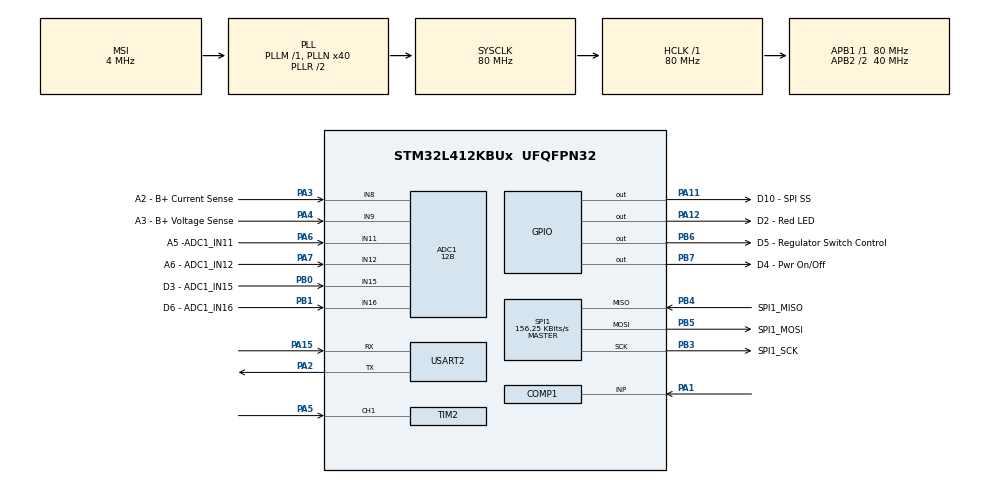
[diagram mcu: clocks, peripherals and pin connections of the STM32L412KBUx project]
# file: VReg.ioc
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ADC1.Channel-0\#ChannelRegularConversion=ADC_CHANNEL_TEMPSENSOR
ADC1.Channel-1\#ChannelRegularConversion=ADC_CHANNEL_8
ADC1.Channel-2\#ChannelRegularConversion=ADC_CHANNEL_9
ADC1.Channel-3\#ChannelRegularConversion=ADC_CHANNEL_11
ADC1.Channel-4\#ChannelRegularConversion=ADC_CHANNEL_12
ADC1.Channel-5\#ChannelRegularConversion=ADC_CHANNEL_15
ADC1.Channel-6\#ChannelRegularConversion=ADC_CHANNEL_16
ADC1.ClockPrescaler=ADC_CLOCK_ASYNC_DIV10
ADC1.ContinuousConvMode=ENABLE
ADC1.DMAContinuousRequests=ENABLE
ADC1.EOCSelection=ADC_EOC_SEQ_CONV
ADC1.ExternalTrigConv=ADC_SOFTWARE_START
ADC1.NbrOfConversion=7
ADC1.NbrOfConversionFlag=1
ADC1.OffsetNumber-1\#ChannelRegularConversion=ADC_OFFSET_NONE
ADC1.OffsetNumber-2\#ChannelRegularConversion=ADC_OFFSET_NONE
ADC1.OffsetNumber-3\#ChannelRegularConversion=ADC_OFFSET_NONE
ADC1.OffsetNumber-4\#ChannelRegularConversion=ADC_OFFSET_NONE
ADC1.OffsetNumber-5\#ChannelRegularConversion=ADC_OFFSET_NONE
ADC1.OffsetNumber-6\#ChannelRegularConversion=ADC_OFFSET_NONE
ADC1.Overrun=ADC_OVR_DATA_OVERWRITTEN
ADC1.OversamplingMode=ENABLE
ADC1.Rank-1\#ChannelRegularConversion=2
ADC1.Rank-2\#ChannelRegularConversion=3
ADC1.Rank-3\#ChannelRegularConversion=4
ADC1.Rank-4\#ChannelRegularConversion=5
ADC1.Rank-5\#ChannelRegularConversion=6
ADC1.Rank-6\#ChannelRegularConversion=7
ADC1.Ratio=ADC_OVERSAMPLING_RATIO_16
ADC1.Resolution=ADC_RESOLUTION_12B
ADC1.RightBitShift=ADC_RIGHTBITSHIFT_NONE
ADC1.SamplingTime-0\#ChannelRegularConversion=ADC_SAMPLETIME_47CYCLES_5
ADC1.SamplingTime-1\#ChannelRegularConversion=ADC_SAMPLETIME_47CYCLES_5
ADC1.SamplingTime-2\#ChannelRegularConversion=ADC_SAMPLETIME_47CYCLES_5
ADC1.SamplingTime-3\#ChannelRegularConversion=ADC_SAMPLETIME_2CYCLES_5
ADC1.SamplingTime-4\#ChannelRegularConversion=ADC_SAMPLETIME_2CYCLES_5
ADC1.SamplingTime-5\#ChannelRegularConversion=ADC_SAMPLETIME_2CYCLES_5
ADC1.SamplingTime-6\#ChannelRegularConversion=ADC_SAMPLETIME_2CYCLES_5
ADC1.master=1
COMP1.Hysteresis=COMP_HYSTERESIS_HIGH
COMP1.Mode=COMP_POWERMODE_ULTRALOWPOWER
COMP1.TriggerMode=COMP_TRIGGERMODE_EVENT_RISING
Dma.ADC1.0.Direction=DMA_PERIPH_TO_MEMORY
Dma.ADC1.0.Instance=DMA1_Channel1
Dma.ADC1.0.MemDataAlignment=DMA_MDATAALIGN_HALFWORD
Dma.ADC1.0.MemInc=DMA_MINC_ENABLE
Dma.ADC1.0.Mode=DMA_CIRCULAR
Dma.ADC1.0.PeriphDataAlignment=DMA_PDATAALIGN_HALFWORD
Dma.ADC1.0.PeriphInc=DMA_PINC_DISABLE
Dma.ADC1.0.Priority=DMA_PRIORITY_HIGH
Dma.Request0=ADC1
Dma.Request1=SPI1_RX
Dma.Request2=SPI1_TX
Dma.SPI1_RX.1.Direction=DMA_PERIPH_TO_MEMORY
Dma.SPI1_RX.1.Instance=DMA2_Channel3
Dma.SPI1_RX.1.MemDataAlignment=DMA_MDATAALIGN_BYTE
Dma.SPI1_RX.1.MemInc=DMA_MINC_ENABLE
Dma.SPI1_RX.1.Mode=DMA_NORMAL
Dma.SPI1_RX.1.PeriphDataAlignment=DMA_PDATAALIGN_BYTE
Dma.SPI1_RX.1.PeriphInc=DMA_PINC_DISABLE
Dma.SPI1_RX.1.Priority=DMA_PRIORITY_VERY_HIGH
Dma.SPI1_TX.2.Direction=DMA_MEMORY_TO_PERIPH
Dma.SPI1_TX.2.Instance=DMA1_Channel3
Dma.SPI1_TX.2.MemDataAlignment=DMA_MDATAALIGN_BYTE
Dma.SPI1_TX.2.MemInc=DMA_MINC_ENABLE
Dma.SPI1_TX.2.Mode=DMA_NORMAL
Dma.SPI1_TX.2.PeriphDataAlignment=DMA_PDATAALIGN_BYTE
Dma.SPI1_TX.2.PeriphInc=DMA_PINC_DISABLE
Dma.SPI1_TX.2.Priority=DMA_PRIORITY_MEDIUM
FREERTOS.Events01=TaskStopped,Static,TaskStoppedControlBlock;TaskReady,Static,TaskReadyControlBlock
FREERTOS.INCLUDE_pcTaskGetTaskName=1
FREERTOS.INCLUDE_uxTaskGetStackHighWaterMark2=1
FREERTOS.INCLUDE_xEventGroupSetBitFromISR=1
FREERTOS.INCLUDE_xSemaphoreGetMutexHolder=1
FREERTOS.INCLUDE_xTaskGetHandle=1
FREERTOS.Mutexes01=avg_data_mutex,Static,avg_data_mutexControlBlock
FREERTOS.Queues01=RegulatorEvtQ,64,evt_t,0,Static,RegulatorEvtQBuffer,RegulatorEvtQControlBlock;ConsoleEvtQ,16,evt_t,0,Static,ConsoleEvtQBuffer,ConsoleEvtQControlBlock;LoggerEvtQ,64,evt_t,0,Static,LoggerQBuffer,LoggerQControlBlock
FREERTOS.Tasks01=Logger,16,640,LoggerTask,Default,NULL,Static,LoggerBuffer,LoggerControlBlock;Console,24,512,ConsoleTask,Default,NULL,Static,ConsoleBuffer,ConsoleControlBlock;Regulator,40,256,RegulatorTask,Default,NULL,Static,RegulatorBuffer,RegulatorControlBlock
FREERTOS.Timers01=Period,PeriodCallback,osTimerPeriodic,Default,NULL,Static,PeriodControlBlock;Period1Hz,Period1HzCallback,osTimerPeriodic,Default,NULL,Static,Period1HzControlBlock;ActivityTimer,ActivityTimerCallback,osTimerOnce,Default,NULL,Static,ActivityTimerControlBlock;CnslActivityTimer,CnslActivityTimerCallback,osTimerOnce,Default,NULL,Static,CnslActivityTimerControlBlock
FREERTOS.configCHECK_FOR_STACK_OVERFLOW=2
FREERTOS.configENABLE_BACKWARD_COMPATIBILITY=0
FREERTOS.configENABLE_FPU=1
FREERTOS.configGENERATE_RUN_TIME_STATS=1
FREERTOS.configTIMER_QUEUE_LENGTH=16
FREERTOS.configTIMER_TASK_STACK_DEPTH=384
FREERTOS.configTOTAL_HEAP_SIZE=4096
FREERTOS.configUSE_MALLOC_FAILED_HOOK=1
FREERTOS.configUSE_NEWLIB_REENTRANT=1
FREERTOS.configUSE_POSIX_ERRNO=1
FREERTOS.configUSE_STATS_FORMATTING_FUNCTIONS=1
FREERTOS.configUSE_TICKLESS_IDLE=0
FREERTOS.configUSE_TICK_HOOK=1
Mcu.Family=STM32L4
Mcu.Name=STM32L412KBUx
Mcu.Package=UFQFPN32
NVIC.ADC1_2_IRQn=true\:5\:0\:false\:false\:true\:true\:true\:true\:true
NVIC.DMA1_Channel1_IRQn=true\:7\:0\:true\:false\:true\:true\:false\:true\:true
NVIC.DMA1_Channel3_IRQn=true\:6\:0\:true\:false\:true\:true\:false\:true\:true
NVIC.DMA2_Channel3_IRQn=true\:5\:0\:false\:false\:true\:true\:false\:true\:true
NVIC.PriorityGroup=NVIC_PRIORITYGROUP_4
NVIC.TIM1_UP_TIM16_IRQn=true\:0\:0\:false\:false\:true\:false\:false\:true\:true
NVIC.TIM2_IRQn=true\:5\:0\:false\:false\:true\:true\:true\:true\:true
NVIC.TimeBase=TIM1_UP_TIM16_IRQn
NVIC.TimeBaseIP=TIM16
NVIC.USART2_IRQn=true\:10\:0\:true\:false\:true\:true\:true\:true\:true
PA0-CK_IN.Mode=HSE-External-Clock-Source-for-LittleOrca
PA0-CK_IN.Signal=RCC_CK_IN
PA1.Mode=INP
PA1.Signal=COMP1_INP
PA10.Signal=USART1_RX
PA11.GPIO_Label=D10 - SPI SS
PA11.GPIO_Speed=GPIO_SPEED_FREQ_LOW
PA11.PinState=GPIO_PIN_SET
PA11.Signal=GPIO_Output
PA12.GPIO_Label=D2 - Red LED
PA12.Signal=GPIO_Output
PA13\ (JTMS/SWDIO).Mode=Serial_Wire
PA13\ (JTMS/SWDIO).Signal=SYS_JTMS-SWDIO
PA14\ (JTCK/SWCLK).Mode=Serial_Wire
PA14\ (JTCK/SWCLK).Signal=SYS_JTCK-SWCLK
PA15\ (JTDI).Mode=Asynchronous
PA15\ (JTDI).Signal=USART2_RX
PA2.Mode=Asynchronous
PA2.Signal=USART2_TX
PA3.GPIO_Label=A2 - B+ Current Sense
PA3.Signal=ADCx_IN8
PA4.GPIO_Label=A3 - B+ Voltage Sense
PA4.Signal=ADCx_IN9
PA5.Signal=S_TIM2_CH1
PA6.GPIO_Label=A5 -ADC1_IN11
PA6.Signal=ADCx_IN11
PA7.GPIO_Label=A6 - ADC1_IN12
PA7.Signal=ADCx_IN12
PA9.Signal=USART1_TX
PB0.GPIO_Label=D3 - ADC1_IN15
PB0.Signal=ADCx_IN15
PB1.GPIO_Label=D6 - ADC1_IN16
PB1.Signal=ADCx_IN16
PB3\ (JTDO/TRACESWO).GPIO_Label=SPI1_SCK
PB3\ (JTDO/TRACESWO).GPIO_Speed=GPIO_SPEED_FREQ_LOW
PB3\ (JTDO/TRACESWO).Mode=Full_Duplex_Master
PB3\ (JTDO/TRACESWO).Signal=SPI1_SCK
PB4\ (NJTRST).GPIO_Label=SPI1_MISO
PB4\ (NJTRST).GPIO_PuPd=GPIO_PULLUP
PB4\ (NJTRST).GPIO_Speed=GPIO_SPEED_FREQ_LOW
PB4\ (NJTRST).Mode=Full_Duplex_Master
PB4\ (NJTRST).Signal=SPI1_MISO
PB5.GPIO_Label=SPI1_MOSI
PB5.GPIO_Speed=GPIO_SPEED_FREQ_LOW
PB5.Mode=Full_Duplex_Master
PB5.Signal=SPI1_MOSI
PB6.GPIO_FM6=__NULL
PB6.GPIO_Label=D5 - Regulator Switch Control
PB6.Signal=GPIO_Output
PB7.GPIO_FM7=__NULL
PB7.GPIO_Label=D4 - Pwr On/Off
PB7.Signal=GPIO_Output
PC14-OSC32_IN\ (PC14).Mode=LSE-External-Oscillator
PC14-OSC32_IN\ (PC14).Signal=RCC_OSC32_IN
PC15-OSC32_OUT\ (PC15).Mode=LSE-External-Oscillator
PC15-OSC32_OUT\ (PC15).Signal=RCC_OSC32_OUT
ProjectManager.HeapSize=0x200
ProjectManager.StackSize=0x400
ProjectManager.TargetToolchain=STM32CubeIDE
RCC.ADCFreq_Value=80000000
RCC.AHBFreq_Value=80000000
RCC.APB1Freq_Value=80000000
RCC.APB1TimFreq_Value=80000000
RCC.APB2CLKDivider=RCC_HCLK_DIV2
RCC.APB2Freq_Value=40000000
RCC.APB2TimFreq_Value=80000000
RCC.CortexFreq_Value=80000000
RCC.HCLKFreq_Value=80000000
RCC.HSE_VALUE=8000000
RCC.HSI48_VALUE=48000000
RCC.HSI_VALUE=16000000
RCC.MSI_VALUE=4000000
RCC.PLLN=40
RCC.RTCClockSelection=RCC_RTCCLKSOURCE_LSE
RCC.SYSCLKFreq_VALUE=80000000
RCC.SYSCLKSource=RCC_SYSCLKSOURCE_PLLCLK
RCC.USBFreq_Value=4000000
RCC.VCOOutputFreq_Value=160000000
SH.ADCx_IN11.0=ADC1_IN11,IN11-Single-Ended
SH.ADCx_IN12.0=ADC1_IN12,IN12-Single-Ended
SH.ADCx_IN15.0=ADC1_IN15,IN15-Single-Ended
SH.ADCx_IN16.0=ADC1_IN16,IN16-Single-Ended
SH.ADCx_IN8.0=ADC1_IN8,IN8-Single-Ended
SH.ADCx_IN9.0=ADC1_IN9,IN9-Single-Ended
SH.S_TIM2_CH1.0=TIM2_CH1,Input_Capture1_from_TI1
SPI1.BaudRatePrescaler=SPI_BAUDRATEPRESCALER_256
SPI1.CalculateBaudRate=156.25 KBits/s
SPI1.DataSize=SPI_DATASIZE_8BIT
SPI1.Direction=SPI_DIRECTION_2LINES
SPI1.Mode=SPI_MODE_MASTER
SPI1.NSSPMode=SPI_NSS_PULSE_DISABLE
SPI1.VirtualType=VM_MASTER
TIM2.AutoReloadPreload=TIM_AUTORELOAD_PRELOAD_ENABLE
TIM2.Channel-Input_Capture1_from_TI1=TIM_CHANNEL_1
TIM2.ICFilter_CH1=15
TIM2.ICPrescaler-Input_Capture1_from_TI1=TIM_ICPSC_DIV1
TIM2.Prescaler=160-1
USART2.VirtualMode-Asynchronous=VM_ASYNC
VP_ADC1_TempSens_Input.Mode=IN-TempSens
VP_COMP1_VS_VREFINT14.Mode=VREFINT_14
VP_FREERTOS_VS_CMSIS_V2.Mode=CMSIS_V2
VP_RTC_VS_RTC_Activate.Mode=RTC_Enabled
VP_SYS_VS_tim16.Mode=TIM16
VP_TIM2_VS_ClockSourceINT.Mode=Internal
board=custom

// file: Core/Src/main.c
/* USER CODE BEGIN Header */
/**
 ******************************************************************************
 * @file           : main.c
 * @brief          : Main program body
 ******************************************************************************
 * @attention
 *
 * <h2><center>&copy; Copyright (c) 2021 STMicroelectronics.
 * All rights reserved.</center></h2>
 *
 * This software component is licensed by ST under BSD 3-Clause license,
 * the "License"; You may not use this file except in compliance with the
 * License. You may obtain a copy of the License at:
 *                        opensource.org/licenses/BSD-3-Clause
 *
 ******************************************************************************
 */

// Notes:
// 80 MHz clock / Clock Prescaler 10 => 1 cycle = .125 µs
// ADC:
//   Channel Temperature Sensor:
//      t S_temp (1) ADC sampling time when reading the temperature 5 - - µs
//         5 / .125 is >= 40 cycles
// 80 MHz clock / Clock Prescaler 16 => 1 cycle = .2 µs
//	5 / .2 is >= 25 cycles
// 80 MHz clock / Clock Prescaler 8 => 1 cycle = .1 µs
//	5 / .1 is >= 50
// 80 MHz clock / Clock Prescaler 6 =>  1 cycle = .075 µs
// 5 / .075 is >= 67
// 80 MHz clock / Clock Prescaler 4 =>  1 cycle =  .05 µs
// 5 / .05 is >= 100
// 4 MHz clock / Clock Prescaler 1  => 1 cycle = .25 µs
// ADC:
//   Channel Temperature Sensor:
//      5 / .25 is >= 20 cycles
//
// 80×10�?� Hz ÷ Clock Prescaler 10 ÷ 47.5 cycle sampling time ÷ 16x oversampling = 10526 samples/s
//     ÷ 8 conversions/sequence => 1316 samples/s (if they all have a 47.5 cycle sampling time).

/* USER CODE END Header */
#include "main.h"
#include "cmsis_os.h"
#include "adc.h"
#include "comp.h"
#include "dma.h"
#include "rtc.h"
#include "spi.h"
#include "tim.h"
#include "usart.h"
#include "gpio.h"

/* USER CODE BEGIN Includes */

#include <stdbool.h>
#include <stdio.h>

#include "analog.h"
#include "config.h"
#include "data.h"
//
#include "printf.h"

/* USER CODE END Includes */

/* USER CODE BEGIN PV */
extern COMP_HandleTypeDef hcomp1;
/* USER CODE END PV */

void SystemClock_Config(void);
void MX_FREERTOS_Init(void);

/* USER CODE BEGIN 0 */
static void flash(unsigned n, bool forever) {
	HAL_GPIO_WritePin(D2___Red_LED_GPIO_Port, D2___Red_LED_Pin, GPIO_PIN_RESET);
	for (size_t j = 0; j < 3 || forever; ++j) {
		for (size_t i = 0; i < n; ++i) {
			HAL_GPIO_WritePin(D2___Red_LED_GPIO_Port, D2___Red_LED_Pin, GPIO_PIN_SET);
			/* Insert delay 100 ms */
			HAL_Delay(200);
			HAL_GPIO_WritePin(D2___Red_LED_GPIO_Port, D2___Red_LED_Pin, GPIO_PIN_RESET);
			/* Insert delay 100 ms */
			HAL_Delay(200);
		}
		HAL_Delay(500);
	}
}
/* USER CODE END 0 */

int main(void)
{
  /* USER CODE BEGIN 1 */
	uwTickPrio = TICK_INT_PRIORITY; // Avoid assert_failed in HAL_InitTick
  /* USER CODE END 1 */

  /* MCU Configuration--------------------------------------------------------*/

  /* Reset of all peripherals, Initializes the Flash interface and the Systick. */
  HAL_Init();

  /* Configure the system clock */
  SystemClock_Config();

  /* Initialize all configured peripherals */
  MX_GPIO_Init();
  MX_DMA_Init();
  MX_ADC1_Init();
  MX_USART2_UART_Init();
  MX_SPI1_Init();
  MX_RTC_Init();
  MX_COMP1_Init();
  MX_TIM2_Init();
  /* USER CODE BEGIN 2 */

	/* Start analog data conversion */
	if (HAL_OK != HAL_ADCEx_Calibration_Start(&hadc1, ADC_SINGLE_ENDED))
		Error_Handler();

	if (HAL_OK != HAL_ADC_Start_DMA(&hadc1, (uint32_t *)&raw_recs, hadc1.Init.NbrOfConversion))
		Error_Handler();

	  /* Start COMP1 */
	if (HAL_COMP_Start(&hcomp1) != HAL_OK) {
		/* Initialization Error */
		Error_Handler();
	}

	// Start the TIMER TIM1 in the Input capture interrupt mode.
	// This is the timer for measuring frequency (for RPM)
	HAL_TIM_IC_Start_IT(&htim2, TIM_CHANNEL_1);

	cfg_load();

	RS_init(&internal_temp_stats);
	RS_init(&Bplus_volt_stats);
	RS_init(&Bplus_amp_stats);

	setbuf(stdout, NULL); // unbuffered stdout
	setvbuf (stdout, 0, _IONBF, 0);
	printf("\e[2J\e[H"  // Clear Screen
					"Voltage Regulator Console\r\n\n");

  /* USER CODE END 2 */

  /* Init scheduler */
  osKernelInitialize();  /* Call init function for freertos objects (in freertos.c) */
  MX_FREERTOS_Init();

  /* Start scheduler */
  osKernelStart();

  /* We should never get here as control is now taken by the scheduler */
  /* Infinite loop */
  while (1)
  {

  }
}

void SystemClock_Config(void)
{
  RCC_OscInitTypeDef RCC_OscInitStruct = {0};
  RCC_ClkInitTypeDef RCC_ClkInitStruct = {0};

  /** Configure the main internal regulator output voltage
  */
  if (HAL_PWREx_ControlVoltageScaling(PWR_REGULATOR_VOLTAGE_SCALE1) != HAL_OK)
  {
    Error_Handler();
  }

  /** Configure LSE Drive Capability
  */
  HAL_PWR_EnableBkUpAccess();
  __HAL_RCC_LSEDRIVE_CONFIG(RCC_LSEDRIVE_LOW);

  /** Initializes the RCC Oscillators according to the specified parameters
  * in the RCC_OscInitTypeDef structure.
  */
  RCC_OscInitStruct.OscillatorType = RCC_OSCILLATORTYPE_LSE|RCC_OSCILLATORTYPE_MSI;
  RCC_OscInitStruct.LSEState = RCC_LSE_ON;
  RCC_OscInitStruct.MSIState = RCC_MSI_ON;
  RCC_OscInitStruct.MSICalibrationValue = 0;
  RCC_OscInitStruct.MSIClockRange = RCC_MSIRANGE_6;
  RCC_OscInitStruct.PLL.PLLState = RCC_PLL_ON;
  RCC_OscInitStruct.PLL.PLLSource = RCC_PLLSOURCE_MSI;
  RCC_OscInitStruct.PLL.PLLM = 1;
  RCC_OscInitStruct.PLL.PLLN = 40;
  RCC_OscInitStruct.PLL.PLLQ = RCC_PLLQ_DIV2;
  RCC_OscInitStruct.PLL.PLLR = RCC_PLLR_DIV2;
  if (HAL_RCC_OscConfig(&RCC_OscInitStruct) != HAL_OK)
  {
    Error_Handler();
  }

  /** Initializes the CPU, AHB and APB buses clocks
  */
  RCC_ClkInitStruct.ClockType = RCC_CLOCKTYPE_HCLK|RCC_CLOCKTYPE_SYSCLK
                              |RCC_CLOCKTYPE_PCLK1|RCC_CLOCKTYPE_PCLK2;
  RCC_ClkInitStruct.SYSCLKSource = RCC_SYSCLKSOURCE_PLLCLK;
  RCC_ClkInitStruct.AHBCLKDivider = RCC_SYSCLK_DIV1;
  RCC_ClkInitStruct.APB1CLKDivider = RCC_HCLK_DIV1;
  RCC_ClkInitStruct.APB2CLKDivider = RCC_HCLK_DIV2;

  if (HAL_RCC_ClockConfig(&RCC_ClkInitStruct, FLASH_LATENCY_4) != HAL_OK)
  {
    Error_Handler();
  }

  /** Enable MSI Auto calibration
  */
  HAL_RCCEx_EnableMSIPLLMode();
}

/* USER CODE BEGIN 4 */

__attribute__((used))
void prvGetRegistersFromStack( uint32_t *pulFaultStackAddress )
{
/* These are volatile to try and prevent the compiler/linker optimising them
away as the variables never actually get used.  If the debugger won't show the
values of the variables, make them global my moving their declaration outside
of this function. */
volatile uint32_t __attribute__((unused)) r0;
volatile uint32_t __attribute__((unused)) r1;
volatile uint32_t __attribute__((unused)) r2;
volatile uint32_t __attribute__((unused)) r3;
volatile uint32_t __attribute__((unused)) r12;
volatile uint32_t __attribute__((unused)) lr; /* Link register. */
volatile uint32_t __attribute__((unused)) pc; /* Program counter. */
volatile uint32_t __attribute__((unused)) psr;/* Program status register. */

    r0 = pulFaultStackAddress[ 0 ];
    r1 = pulFaultStackAddress[ 1 ];
    r2 = pulFaultStackAddress[ 2 ];
    r3 = pulFaultStackAddress[ 3 ];

    r12 = pulFaultStackAddress[ 4 ];
    lr = pulFaultStackAddress[ 5 ];
    pc = pulFaultStackAddress[ 6 ];
    psr = pulFaultStackAddress[ 7 ];

    /* When the following line is hit, the variables contain the register values. */
    for( ;; ) __BKPT(4);
}
/**
  * @brief This function handles Hard fault interrupt.
  * See https://www.freertos.org/Debugging-Hard-Faults-On-Cortex-M-Microcontrollers.html
  */
__attribute__((naked))
void HardFault_Handler(void) {
#if 0
    __asm volatile
    (
        " tst lr, #4                                                \n"
        " ite eq                                                    \n"
        " mrseq r0, msp                                             \n"
        " mrsne r0, psp                                             \n"
        " ldr r1, [r0, #24]                                         \n"
        " ldr r2, handler2_address_const                            \n"
        " bx r2                                                     \n"
        " handler2_address_const: .word prvGetRegistersFromStack    \n"
    );
#else
	__asm volatile (
			" movs r0,#4       \n"
			" movs r1, lr      \n"
			" tst r0, r1       \n"
			" beq _MSP2         \n"
			" mrs r0, psp      \n"
			" b _HALT2          \n"
			"_MSP2:               \n"
			" mrs r0, msp      \n"
			"_HALT2:              \n"
			" ldr r1,[r0,#20]  \n"
			" b prvGetRegistersFromStack \n"
	);
#endif
}

__attribute__((__noreturn__))
void my_assert_func(const char *file, int line, const char *func,
                    const char *pred) {
    printf("%s: assertion \"%s\" failed: file \"%s\", line %d, function: %s\n",
        pcTaskGetName(NULL), pred, file, line, func);
    fflush(stdout);
    vTaskSuspendAll();
    taskDISABLE_INTERRUPTS();
    for( ;; ) __BKPT(3); // Stop in GUI as if at a breakpoint (if debugging,
                     // otherwise loop forever)
}

__attribute__((__noreturn__))
void __assert_func( const char *filename, int line, const char *assert_func, const char *expr ) {
	my_assert_func(filename, line, assert_func, expr);
}

/* USER CODE END 4 */

void HAL_TIM_PeriodElapsedCallback(TIM_HandleTypeDef *htim)
{
  if (htim->Instance == TIM16) {
    HAL_IncTick();
  }
}

void Error_Handler(void)
{
  /* USER CODE BEGIN Error_Handler_Debug */
	/* User can add his own implementation to report the HAL error return state */
	flash(10, true);
	printf("Error!\r\n");
	__disable_irq();
	while (1) {
		__BKPT(0);
	}
  /* USER CODE END Error_Handler_Debug */
}

#ifdef  USE_FULL_ASSERT
/**
  * @brief  Reports the name of the source file and the source line number
  *         where the assert_param error has occurred.
  * @param  file: pointer to the source file name
  * @param  line: assert_param error line source number
  * @retval None
  */
void assert_failed(uint8_t *file, uint32_t line)
{
  /* USER CODE BEGIN 6 */
	/* User can add his own implementation to report the file name and line number,
	 ex: printf("Wrong parameters value: file %s on line %d\r\n", file, line) */
	printf("Wrong parameters value: file %s on line %lu\r\n", file, line);
	Error_Handler();
  /* USER CODE END 6 */
}
#endif /* USE_FULL_ASSERT */

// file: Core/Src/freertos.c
/* USER CODE BEGIN Header */
/**
 ******************************************************************************
 * File Name          : freertos.c
 * Description        : Code for freertos applications
 ******************************************************************************
 * @attention
 *
 * <h2><center>&copy; Copyright (c) 2021 STMicroelectronics.
 * All rights reserved.</center></h2>
 *
 * This software component is licensed by ST under Ultimate Liberty license
 * SLA0044, the "License"; You may not use this file except in compliance with
 * the License. You may obtain a copy of the License at:
 *                             www.st.com/SLA0044
 *
 ******************************************************************************
 */
/* USER CODE END Header */

#include "FreeRTOS.h"
#include "task.h"
#include "main.h"
#include "cmsis_os.h"

/* USER CODE BEGIN Includes */
#include "console_sm.h"
#include "logger_sm.h"
#include "regulator_sm.h"
#include "data.h"
#include "global.h"
//
#include "printf.h"
/* USER CODE END Includes */

typedef StaticTask_t osStaticThreadDef_t;
typedef StaticQueue_t osStaticMessageQDef_t;
typedef StaticTimer_t osStaticTimerDef_t;
typedef StaticSemaphore_t osStaticMutexDef_t;
typedef StaticEventGroup_t osStaticEventGroupDef_t;

/* Definitions for Logger */
osThreadId_t LoggerHandle;
uint32_t LoggerBuffer[ 640 ];
osStaticThreadDef_t LoggerControlBlock;
const osThreadAttr_t Logger_attributes = {
  .name = "Logger",
  .cb_mem = &LoggerControlBlock,
  .cb_size = sizeof(LoggerControlBlock),
  .stack_mem = &LoggerBuffer[0],
  .stack_size = sizeof(LoggerBuffer),
  .priority = (osPriority_t) osPriorityBelowNormal,
};
/* Definitions for Console */
osThreadId_t ConsoleHandle;
uint32_t ConsoleBuffer[ 512 ];
osStaticThreadDef_t ConsoleControlBlock;
const osThreadAttr_t Console_attributes = {
  .name = "Console",
  .cb_mem = &ConsoleControlBlock,
  .cb_size = sizeof(ConsoleControlBlock),
  .stack_mem = &ConsoleBuffer[0],
  .stack_size = sizeof(ConsoleBuffer),
  .priority = (osPriority_t) osPriorityNormal,
};
/* Definitions for Regulator */
osThreadId_t RegulatorHandle;
uint32_t RegulatorBuffer[ 256 ];
osStaticThreadDef_t RegulatorControlBlock;
const osThreadAttr_t Regulator_attributes = {
  .name = "Regulator",
  .cb_mem = &RegulatorControlBlock,
  .cb_size = sizeof(RegulatorControlBlock),
  .stack_mem = &RegulatorBuffer[0],
  .stack_size = sizeof(RegulatorBuffer),
  .priority = (osPriority_t) osPriorityHigh,
};
/* Definitions for RegulatorEvtQ */
osMessageQueueId_t RegulatorEvtQHandle;
uint8_t RegulatorEvtQBuffer[ 64 * sizeof( evt_t ) ];
osStaticMessageQDef_t RegulatorEvtQControlBlock;
const osMessageQueueAttr_t RegulatorEvtQ_attributes = {
  .name = "RegulatorEvtQ",
  .cb_mem = &RegulatorEvtQControlBlock,
  .cb_size = sizeof(RegulatorEvtQControlBlock),
  .mq_mem = &RegulatorEvtQBuffer,
  .mq_size = sizeof(RegulatorEvtQBuffer)
};
/* Definitions for ConsoleEvtQ */
osMessageQueueId_t ConsoleEvtQHandle;
uint8_t ConsoleEvtQBuffer[ 16 * sizeof( evt_t ) ];
osStaticMessageQDef_t ConsoleEvtQControlBlock;
const osMessageQueueAttr_t ConsoleEvtQ_attributes = {
  .name = "ConsoleEvtQ",
  .cb_mem = &ConsoleEvtQControlBlock,
  .cb_size = sizeof(ConsoleEvtQControlBlock),
  .mq_mem = &ConsoleEvtQBuffer,
  .mq_size = sizeof(ConsoleEvtQBuffer)
};
/* Definitions for LoggerEvtQ */
osMessageQueueId_t LoggerEvtQHandle;
uint8_t LoggerQBuffer[ 64 * sizeof( evt_t ) ];
osStaticMessageQDef_t LoggerQControlBlock;
const osMessageQueueAttr_t LoggerEvtQ_attributes = {
  .name = "LoggerEvtQ",
  .cb_mem = &LoggerQControlBlock,
  .cb_size = sizeof(LoggerQControlBlock),
  .mq_mem = &LoggerQBuffer,
  .mq_size = sizeof(LoggerQBuffer)
};
/* Definitions for Period */
osTimerId_t PeriodHandle;
osStaticTimerDef_t PeriodControlBlock;
const osTimerAttr_t Period_attributes = {
  .name = "Period",
  .cb_mem = &PeriodControlBlock,
  .cb_size = sizeof(PeriodControlBlock),
};
/* Definitions for Period1Hz */
osTimerId_t Period1HzHandle;
osStaticTimerDef_t Period1HzControlBlock;
const osTimerAttr_t Period1Hz_attributes = {
  .name = "Period1Hz",
  .cb_mem = &Period1HzControlBlock,
  .cb_size = sizeof(Period1HzControlBlock),
};
/* Definitions for ActivityTimer */
osTimerId_t ActivityTimerHandle;
osStaticTimerDef_t ActivityTimerControlBlock;
const osTimerAttr_t ActivityTimer_attributes = {
  .name = "ActivityTimer",
  .cb_mem = &ActivityTimerControlBlock,
  .cb_size = sizeof(ActivityTimerControlBlock),
};
/* Definitions for CnslActivityTimer */
osTimerId_t CnslActivityTimerHandle;
osStaticTimerDef_t CnslActivityTimerControlBlock;
const osTimerAttr_t CnslActivityTimer_attributes = {
  .name = "CnslActivityTimer",
  .cb_mem = &CnslActivityTimerControlBlock,
  .cb_size = sizeof(CnslActivityTimerControlBlock),
};
/* Definitions for avg_data_mutex */
osMutexId_t avg_data_mutexHandle;
osStaticMutexDef_t avg_data_mutexControlBlock;
const osMutexAttr_t avg_data_mutex_attributes = {
  .name = "avg_data_mutex",
  .cb_mem = &avg_data_mutexControlBlock,
  .cb_size = sizeof(avg_data_mutexControlBlock),
};
/* Definitions for TaskStopped */
osEventFlagsId_t TaskStoppedHandle;
osStaticEventGroupDef_t TaskStoppedControlBlock;
const osEventFlagsAttr_t TaskStopped_attributes = {
  .name = "TaskStopped",
  .cb_mem = &TaskStoppedControlBlock,
  .cb_size = sizeof(TaskStoppedControlBlock),
};
/* Definitions for TaskReady */
osEventFlagsId_t TaskReadyHandle;
osStaticEventGroupDef_t TaskReadyControlBlock;
const osEventFlagsAttr_t TaskReady_attributes = {
  .name = "TaskReady",
  .cb_mem = &TaskReadyControlBlock,
  .cb_size = sizeof(TaskReadyControlBlock),
};

void LoggerTask(void *argument);
void ConsoleTask(void *argument);
void RegulatorTask(void *argument);
void PeriodCallback(void *argument);
void Period1HzCallback(void *argument);
void ActivityTimerCallback(void *argument);
void CnslActivityTimerCallback(void *argument);

void MX_FREERTOS_Init(void); /* (MISRA C 2004 rule 8.1) */

/* Hook prototypes */
void configureTimerForRunTimeStats(void);
unsigned long getRunTimeCounterValue(void);
void vApplicationTickHook(void);
void vApplicationStackOverflowHook(TaskHandle_t xTask, signed char *pcTaskName);
void vApplicationMallocFailedHook(void);

/* USER CODE BEGIN 1 */
/* Functions needed when configGENERATE_RUN_TIME_STATS is on */
__weak void configureTimerForRunTimeStats(void) {

}

__weak unsigned long getRunTimeCounterValue(void) {
	return 0;
}
/* USER CODE END 1 */

/* USER CODE BEGIN 3 */
void vApplicationTickHook(void) {
	/* This function will be called by each tick interrupt if
	 configUSE_TICK_HOOK is set to 1 in FreeRTOSConfig.h. User code can be
	 added here, but the tick hook is called from an interrupt context, so
	 code must not attempt to block, and only the interrupt safe FreeRTOS API
	 functions can be used (those that end in FromISR()). */
}
/* USER CODE END 3 */

/* USER CODE BEGIN 4 */
void vApplicationStackOverflowHook(TaskHandle_t xTask, signed char *pcTaskName) {
	(void)xTask;
	/* Run time stack overflow checking is performed if
	 configCHECK_FOR_STACK_OVERFLOW is defined to 1 or 2. This hook function is
	 called if a stack overflow is detected. */
	log_printf("Task: %s: ", pcTaskName);
	configASSERT(!"Stack Overflow!\r\n");
}
/* USER CODE END 4 */

/* USER CODE BEGIN 5 */
void vApplicationMallocFailedHook(void) {
	/* vApplicationMallocFailedHook() will only be called if
	 configUSE_MALLOC_FAILED_HOOK is set to 1 in FreeRTOSConfig.h. It is a hook
	 function that will get called if a call to pvPortMalloc() fails.
	 pvPortMalloc() is called internally by the kernel whenever a task, queue,
	 timer or semaphore is created. It is also called by various parts of the
	 demo application. If heap_1.c or heap_2.c are used, then the size of the
	 heap available to pvPortMalloc() is defined by configTOTAL_HEAP_SIZE in
	 FreeRTOSConfig.h, and the xPortGetFreeHeapSize() API function can be used
	 to query the size of free heap space that remains (although it does not
	 provide information on how the remaining heap might be fragmented). */
	configASSERT(!"Malloc Failed!\r\n");
}
/* USER CODE END 5 */

void MX_FREERTOS_Init(void) {
  /* Create the mutex(es) */
  /* creation of avg_data_mutex */
  avg_data_mutexHandle = osMutexNew(&avg_data_mutex_attributes);

  /* Create the timer(s) */
  /* creation of Period */
  PeriodHandle = osTimerNew(PeriodCallback, osTimerPeriodic, NULL, &Period_attributes);

  /* creation of Period1Hz */
  Period1HzHandle = osTimerNew(Period1HzCallback, osTimerPeriodic, NULL, &Period1Hz_attributes);

  /* creation of ActivityTimer */
  ActivityTimerHandle = osTimerNew(ActivityTimerCallback, osTimerOnce, NULL, &ActivityTimer_attributes);

  /* creation of CnslActivityTimer */
  CnslActivityTimerHandle = osTimerNew(CnslActivityTimerCallback, osTimerOnce, NULL, &CnslActivityTimer_attributes);

  /* Create the queue(s) */
  /* creation of RegulatorEvtQ */
  RegulatorEvtQHandle = osMessageQueueNew (64, sizeof(evt_t), &RegulatorEvtQ_attributes);

  /* creation of ConsoleEvtQ */
  ConsoleEvtQHandle = osMessageQueueNew (16, sizeof(evt_t), &ConsoleEvtQ_attributes);

  /* creation of LoggerEvtQ */
  LoggerEvtQHandle = osMessageQueueNew (64, sizeof(evt_t), &LoggerEvtQ_attributes);

  /* Create the thread(s) */
  /* creation of Logger */
  LoggerHandle = osThreadNew(LoggerTask, NULL, &Logger_attributes);

  /* creation of Console */
  ConsoleHandle = osThreadNew(ConsoleTask, NULL, &Console_attributes);

  /* creation of Regulator */
  RegulatorHandle = osThreadNew(RegulatorTask, NULL, &Regulator_attributes);

  /* creation of TaskStopped */
  TaskStoppedHandle = osEventFlagsNew(&TaskStopped_attributes);

  /* creation of TaskReady */
  TaskReadyHandle = osEventFlagsNew(&TaskReady_attributes);

}

void LoggerTask(void *argument)
{
  /* USER CODE BEGIN LoggerTask */
	(void)argument;
	evt_t evt = { LOG_ENTRY_SIG, { 0 } };
	log_dispatch(&evt);
	uint32_t flags = osEventFlagsSet(TaskReadyHandle, TASK_LOG);
	configASSERT(!(0x80000000 & flags));
	/* Infinite loop */
	for (;;) {
		osStatus_t rc = osMessageQueueGet(LoggerEvtQHandle, &evt, 0, osWaitForever);
		configASSERT(osOK == rc);
		log_dispatch(&evt);
	}
  /* USER CODE END LoggerTask */
}

void ConsoleTask(void *argument)
{
  /* USER CODE BEGIN ConsoleTask */
	(void)argument;
	evt_t evt = { CNSL_ENTRY_SIG, { 0 } };
	cnsl_dispatch(&evt);
	/* Infinite loop */
	for (;;) {
		// osStatus_t 	osMessageQueueGet (osMessageQueueId_t mq_id, void *msg_ptr, uint8_t *msg_prio, uint32_t timeout)
		osStatus_t rc = osMessageQueueGet(ConsoleEvtQHandle, &evt, 0, osWaitForever);
		configASSERT(osOK == rc);
		cnsl_dispatch(&evt);
		// Keep regulator from going to sleep if there is no D+ voltage:
		if (KEYSTROKE_SIG == evt.sig) {
			osStatus_t rc = osTimerStart(CnslActivityTimerHandle, 15*60*1000);
			configASSERT(osOK == rc);
		}
	}
  /* USER CODE END ConsoleTask */
}

void RegulatorTask(void *argument)
{
  /* USER CODE BEGIN RegulatorTask */
	(void)argument;
	uint32_t flags = osEventFlagsWait(TaskReadyHandle, TASK_LOG, osFlagsWaitAny, 30000);
	configASSERT(!(0x80000000 & flags));
	evt_t evt = { REG_ENTRY_SIG, { 0 } };
	reg_dispatch(&evt);
	flags = osEventFlagsSet(TaskReadyHandle, TASK_REG);
	configASSERT(!(0x80000000 & flags));
  	//osStatus_t osTimerStart(osTimerId_t timer_id, uint32_t ticks)
	osTimerStart(PeriodHandle, regulator_period);
	osTimerStart(Period1HzHandle, period1Hz);
	/* Infinite loop */
	for (;;) {
		osStatus_t rc = osMessageQueueGet(RegulatorEvtQHandle, &evt, 0, osWaitForever);
		configASSERT(osOK == rc);
		reg_dispatch(&evt);
	}
  /* USER CODE END RegulatorTask */
}

/* PeriodCallback function */
void PeriodCallback(void *argument)
{
  /* USER CODE BEGIN PeriodCallback */
	(void)argument;
	evt_t evt = { PERIOD_SIG, { 0 } };
	osStatus_t rc = osMessageQueuePut(RegulatorEvtQHandle, &evt, 0, 1);
	configASSERT(osOK == rc);
//	rc = osMessageQueuePut(ConsoleEvtQHandle, &evt, 0, 0);
//	configASSERT(osOK == rc);
  /* USER CODE END PeriodCallback */
}

/* Period1HzCallback function */
void Period1HzCallback(void *argument)
{
  /* USER CODE BEGIN Period1HzCallback */
	(void)argument;
	++uptime;
	evt_t evt = { PERIOD_1HZ_SIG, { 0 } };
	osStatus_t rc = osMessageQueuePut(LoggerEvtQHandle, &evt, 0, 1000);
	if (osOK != rc)
		printf("Dropped PERIOD_1HZ_SIG to LoggerEvtQ\n");
	/* rc = */ osMessageQueuePut(ConsoleEvtQHandle, &evt, 0, 100);
//	if (osOK != rc)
//		printf("Dropped PERIOD_1HZ_SIG to ConsoleEvtQ\n");
	rc = osMessageQueuePut(RegulatorEvtQHandle, &evt, 0, 10);
	configASSERT(osOK == rc);
  /* USER CODE END Period1HzCallback */
}

/* ActivityTimerCallback function */
void ActivityTimerCallback(void *argument)
{
  /* USER CODE BEGIN ActivityTimerCallback */
	(void)argument;
	// Don't put Reg to sleep if console is in use
	if (!osTimerIsRunning(CnslActivityTimerHandle)) {
		evt_t evt = { REG_SLEEP_SIG, { 0 } };
		osStatus_t rc = osMessageQueuePut(RegulatorEvtQHandle, &evt, 0, 0);
		assert(osOK == rc);
	}
  /* USER CODE END ActivityTimerCallback */
}

/* CnslActivityTimerCallback function */
void CnslActivityTimerCallback(void *argument)
{
  /* USER CODE BEGIN CnslActivityTimerCallback */
	(void)argument;
  /* USER CODE END CnslActivityTimerCallback */
}
